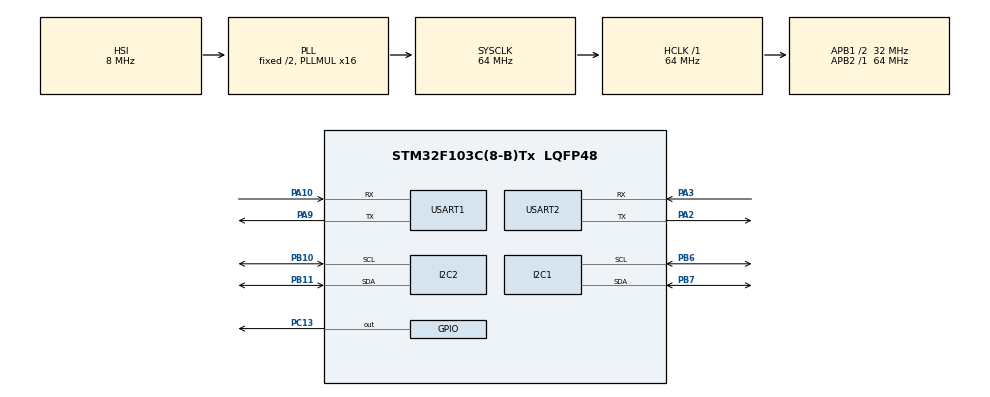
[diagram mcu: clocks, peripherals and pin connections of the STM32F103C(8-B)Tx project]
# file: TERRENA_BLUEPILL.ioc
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FREERTOS.Tasks01=defaultTask,0,128,StartDefaultTask,Default,NULL,Dynamic,NULL,NULL
Mcu.Family=STM32F1
Mcu.Name=STM32F103C(8-B)Tx
Mcu.Package=LQFP48
NVIC.PriorityGroup=NVIC_PRIORITYGROUP_4
PA10.Mode=Asynchronous
PA10.Signal=USART1_RX
PA2.Mode=Asynchronous
PA2.Signal=USART2_TX
PA3.Mode=Asynchronous
PA3.Signal=USART2_RX
PA9.Mode=Asynchronous
PA9.Signal=USART1_TX
PB10.Mode=I2C
PB10.Signal=I2C2_SCL
PB11.Mode=I2C
PB11.Signal=I2C2_SDA
PB6.Mode=I2C
PB6.Signal=I2C1_SCL
PB7.Mode=I2C
PB7.Signal=I2C1_SDA
PC13-TAMPER-RTC.Signal=GPIO_Output
ProjectManager.HeapSize=0x200
ProjectManager.StackSize=0x400
ProjectManager.TargetToolchain=STM32CubeIDE
RCC.AHBFreq_Value=64000000
RCC.APB1CLKDivider=RCC_HCLK_DIV2
RCC.APB1Freq_Value=32000000
RCC.APB1TimFreq_Value=64000000
RCC.APB2Freq_Value=64000000
RCC.APB2TimFreq_Value=64000000
RCC.HCLKFreq_Value=64000000
RCC.PLLMUL=RCC_PLL_MUL16
RCC.SYSCLKFreq_VALUE=64000000
RCC.SYSCLKSource=RCC_SYSCLKSOURCE_PLLCLK
RCC.USBFreq_Value=64000000
USART1.VirtualMode=VM_ASYNC
USART2.VirtualMode=VM_ASYNC
VP_FREERTOS_VS_CMSIS_V1.Mode=CMSIS_V1
board=custom

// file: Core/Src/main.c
/* USER CODE BEGIN Header */
/**
  ******************************************************************************
  * @file           : main.c
  * @brief          : Main program body
  ******************************************************************************
  * @attention
  *
  * Copyright (c) 2024 STMicroelectronics.
  * All rights reserved.
  *
  * This software is licensed under terms that can be found in the LICENSE file
  * in the root directory of this software component.
  * If no LICENSE file comes with this software, it is provided AS-IS.
  *
  ******************************************************************************
  */
/* USER CODE END Header */
#include "main.h"
#include "cmsis_os.h"
#include "i2c.h"
#include "usart.h"
#include "gpio.h"

void SystemClock_Config(void);
void MX_FREERTOS_Init(void);

int main(void)
{

  /* MCU Configuration--------------------------------------------------------*/

  /* Reset of all peripherals, Initializes the Flash interface and the Systick. */
  HAL_Init();

  /* Configure the system clock */
  SystemClock_Config();

  /* Initialize all configured peripherals */
  MX_GPIO_Init();
  MX_I2C1_Init();
  MX_I2C2_Init();
  MX_USART1_UART_Init();
  MX_USART2_UART_Init();

  /* Call init function for freertos objects (in freertos.c) */
  MX_FREERTOS_Init();

  /* Start scheduler */
  osKernelStart();
  /* We should never get here as control is now taken by the scheduler */
  /* Infinite loop */
  while (1)
  {

  }
}

void SystemClock_Config(void)
{
  RCC_OscInitTypeDef RCC_OscInitStruct = {0};
  RCC_ClkInitTypeDef RCC_ClkInitStruct = {0};

  /** Initializes the RCC Oscillators according to the specified parameters
  * in the RCC_OscInitTypeDef structure.
  */
  RCC_OscInitStruct.OscillatorType = RCC_OSCILLATORTYPE_HSI;
  RCC_OscInitStruct.HSIState = RCC_HSI_ON;
  RCC_OscInitStruct.HSICalibrationValue = RCC_HSICALIBRATION_DEFAULT;
  RCC_OscInitStruct.PLL.PLLState = RCC_PLL_ON;
  RCC_OscInitStruct.PLL.PLLSource = RCC_PLLSOURCE_HSI_DIV2;
  RCC_OscInitStruct.PLL.PLLMUL = RCC_PLL_MUL16;
  if (HAL_RCC_OscConfig(&RCC_OscInitStruct) != HAL_OK)
  {
    Error_Handler();
  }

  /** Initializes the CPU, AHB and APB buses clocks
  */
  RCC_ClkInitStruct.ClockType = RCC_CLOCKTYPE_HCLK|RCC_CLOCKTYPE_SYSCLK
                              |RCC_CLOCKTYPE_PCLK1|RCC_CLOCKTYPE_PCLK2;
  RCC_ClkInitStruct.SYSCLKSource = RCC_SYSCLKSOURCE_PLLCLK;
  RCC_ClkInitStruct.AHBCLKDivider = RCC_SYSCLK_DIV1;
  RCC_ClkInitStruct.APB1CLKDivider = RCC_HCLK_DIV2;
  RCC_ClkInitStruct.APB2CLKDivider = RCC_HCLK_DIV1;

  if (HAL_RCC_ClockConfig(&RCC_ClkInitStruct, FLASH_LATENCY_2) != HAL_OK)
  {
    Error_Handler();
  }
}

void Error_Handler(void)
{
  __disable_irq();
  while (1)
  {
  }
}

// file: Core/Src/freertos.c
/* USER CODE BEGIN Header */
/**
  ******************************************************************************
  * File Name          : freertos.c
  * Description        : Code for freertos applications
  ******************************************************************************
  * @attention
  *
  * Copyright (c) 2024 STMicroelectronics.
  * All rights reserved.
  *
  * This software is licensed under terms that can be found in the LICENSE file
  * in the root directory of this software component.
  * If no LICENSE file comes with this software, it is provided AS-IS.
  *
  ******************************************************************************
  */
/* USER CODE END Header */

#include "FreeRTOS.h"
#include "task.h"
#include "main.h"
#include "cmsis_os.h"

/* USER CODE BEGIN Includes */
#include "i2c.h"
#include "usart.h"
#include "gpio.h"
#include <stdio.h>
#include <string.h>
/* USER CODE END Includes */

/* USER CODE BEGIN Variables */
/* TARVOS3 variables */
uint8_t checksum;
uint8_t rx_data[750];
char tx_data[750];
uint8_t size_of_data;

/* IMU variables */
int16_t Accel_X_RAW = 0;
int16_t Accel_Y_RAW = 0;
int16_t Accel_Z_RAW = 0;

int16_t Gyro_X_RAW = 0;
int16_t Gyro_Y_RAW = 0;
int16_t Gyro_Z_RAW = 0;

float Ax, Ay, Az, Gx, Gy, Gz;

/* USER CODE END Variables */
osThreadId defaultTaskHandle;

/* USER CODE BEGIN FunctionPrototypes */
void MPU6050_Init (void);

/* USER CODE END FunctionPrototypes */

void StartDefaultTask(void const * argument);

void MX_FREERTOS_Init(void); /* (MISRA C 2004 rule 8.1) */

/* GetIdleTaskMemory prototype (linked to static allocation support) */
void vApplicationGetIdleTaskMemory( StaticTask_t **ppxIdleTaskTCBBuffer, StackType_t **ppxIdleTaskStackBuffer, uint32_t *pulIdleTaskStackSize );

/* USER CODE BEGIN GET_IDLE_TASK_MEMORY */
static StaticTask_t xIdleTaskTCBBuffer;
static StackType_t xIdleStack[configMINIMAL_STACK_SIZE];

void vApplicationGetIdleTaskMemory( StaticTask_t **ppxIdleTaskTCBBuffer, StackType_t **ppxIdleTaskStackBuffer, uint32_t *pulIdleTaskStackSize )
{
  *ppxIdleTaskTCBBuffer = &xIdleTaskTCBBuffer;
  *ppxIdleTaskStackBuffer = &xIdleStack[0];
  *pulIdleTaskStackSize = configMINIMAL_STACK_SIZE;
  /* place for user code */
}
/* USER CODE END GET_IDLE_TASK_MEMORY */

void MX_FREERTOS_Init(void) {

  /* Create the thread(s) */
  /* definition and creation of defaultTask */
  osThreadDef(defaultTask, StartDefaultTask, osPriorityNormal, 0, 128);
  defaultTaskHandle = osThreadCreate(osThread(defaultTask), NULL);

}

void StartDefaultTask(void const * argument)
{
  for(;;)
  {
    osDelay(1);
  }
}

/* USER CODE BEGIN Application */
void TARVOS3_Transmit(void)
{
  HAL_UART_Transmit_IT(&huart1, (uint8_t*)tx_data, sizeof(tx_data));
  osDelay(1);
}

void TARVOS3_Receive(void)
{
  while(1){
    HAL_UART_Receive_IT(&huart1, (uint8_t*)rx_data, sizeof(rx_data));
    HAL_Delay(100);
    if(*rx_data == CONTINUE_COMMAND){
      break;
    }
  }
}

void TARVOS3_Init(void)
{
  checksum = START_SIGNAL ^ sizeof(CHANNEL_SELECTED) ^ CHANNEL_SELECTED;
  sprintf(tx_data, "%02X %02X %02X %02X %02X", START_SIGNAL, CMD_SET_CHANNEL_REQ, sizeof(CHANNEL_SELECTED), CHANNEL_SELECTED, checksum);
  TARVOS3_Transmit();
}

void MPU6050_Init (void)
{
	uint8_t check;
	uint8_t Data;

	// check device ID WHO_AM_I

	HAL_I2C_Mem_Read(&hi2c1, MPU6050_ADDR,WHO_AM_I_REG,1, &check, 1, 1000);

	if (check == 104)  // 0x68 will be returned by the sensor if everything goes well
	{
		// power management register 0X6B we should write all 0's to wake the sensor up
		Data = 0;
		HAL_I2C_Mem_Write(&hi2c1, MPU6050_ADDR, PWR_MGMT_1_REG, 1,&Data, 1, 1000);

		// Set DATA RATE of 1KHz by writing SMPLRT_DIV register
		Data = 0x07;
		HAL_I2C_Mem_Write(&hi2c1, MPU6050_ADDR, SMPLRT_DIV_REG, 1, &Data, 1, 1000);

		// Set accelerometer configuration in ACCEL_CONFIG Register
		// XA_ST=0,YA_ST=0,ZA_ST=0, FS_SEL=0 -> ± 2g
		Data = 0x00;
		HAL_I2C_Mem_Write(&hi2c1, MPU6050_ADDR, ACCEL_CONFIG_REG, 1, &Data, 1, 1000);

		// Set Gyroscopic configuration in GYRO_CONFIG Register
		// XG_ST=0,YG_ST=0,ZG_ST=0, FS_SEL=0 -> ± 250 °/s
		Data = 0x00;
		HAL_I2C_Mem_Write(&hi2c1, MPU6050_ADDR, GYRO_CONFIG_REG, 1, &Data, 1, 1000);
	}
}

void MPU6050_Read_Accel (void)
{
	uint8_t Rec_Data[6];

	// Read 6 BYTES of data starting from ACCEL_XOUT_H register

	HAL_I2C_Mem_Read (&hi2c1, MPU6050_ADDR, ACCEL_XOUT_H_REG, 1, Rec_Data, 6, 1000);

	Accel_X_RAW = (int16_t)(Rec_Data[0] << 8 | Rec_Data [1]);
	Accel_Y_RAW = (int16_t)(Rec_Data[2] << 8 | Rec_Data [3]);
	Accel_Z_RAW = (int16_t)(Rec_Data[4] << 8 | Rec_Data [5]);

	/*** convert the RAW values into acceleration in 'g'
	     we have to divide according to the Full scale value set in FS_SEL
	     I have configured FS_SEL = 0. So I am dividing by 16384.0
	     for more details check ACCEL_CONFIG Register              ****/

	Ax = Accel_X_RAW/16384.0;
	Ay = Accel_Y_RAW/16384.0;
	Az = Accel_Z_RAW/16384.0;

  size_of_data = sizeof(ACCELEROMETER_IDENTIFIER) + sizeof((uint8_t*)&Ax) + sizeof((uint8_t*)&Ay) + sizeof((uint8_t*)&Az);
  checksum = START_SIGNAL ^ size_of_data ^ ACCELEROMETER_IDENTIFIER ^ *(uint8_t*)&Ax ^ *(uint8_t*)&Ay ^ *(uint8_t*)&Az;
  sprintf(tx_data, "%02X %02X %02X %02X %02X %02X %02X %02X", START_SIGNAL, CMD_DATA_REQ, size_of_data, ACCELEROMETER_IDENTIFIER, *(uint8_t*)&Ax, *(uint8_t*)&Ay, *(uint8_t*)&Az, checksum);
  TARVOS3_Transmit();
}

void MPU6050_Read_Gyro (void)
{
	uint8_t Rec_Data[6];

	// Read 6 BYTES of data starting from GYRO_XOUT_H register

	HAL_I2C_Mem_Read (&hi2c1, MPU6050_ADDR, GYRO_XOUT_H_REG, 1, Rec_Data, 6, 1000);

	Gyro_X_RAW = (int16_t)(Rec_Data[0] << 8 | Rec_Data [1]);
	Gyro_Y_RAW = (int16_t)(Rec_Data[2] << 8 | Rec_Data [3]);
	Gyro_Z_RAW = (int16_t)(Rec_Data[4] << 8 | Rec_Data [5]);

	/*** convert the RAW values into dps (°/s)
	     we have to divide according to the Full scale value set in FS_SEL
	     I have configured FS_SEL = 0. So I am dividing by 131.0
	     for more details check GYRO_CONFIG Register              ****/

	Gx = Gyro_X_RAW/131.0;
	Gy = Gyro_Y_RAW/131.0;
	Gz = Gyro_Z_RAW/131.0;

	size_of_data = sizeof(ACCELEROMETER_IDENTIFIER) + sizeof((uint8_t*)&Gx) + sizeof((uint8_t*)&Gy) + sizeof((uint8_t*)&Gz);
	  checksum = START_SIGNAL ^ size_of_data ^ ACCELEROMETER_IDENTIFIER ^ *(uint8_t*)&Gx ^ *(uint8_t*)&Gy ^ *(uint8_t*)&Gz;
	  sprintf(tx_data, "%02X %02X %02X %02X %02X %02X %02X %02X", START_SIGNAL, CMD_DATA_REQ, size_of_data, ACCELEROMETER_IDENTIFIER, *(uint8_t*)&Gx, *(uint8_t*)&Gy, *(uint8_t*)&Gz, checksum);
	  TARVOS3_Transmit();
}
/* USER CODE END Application */
